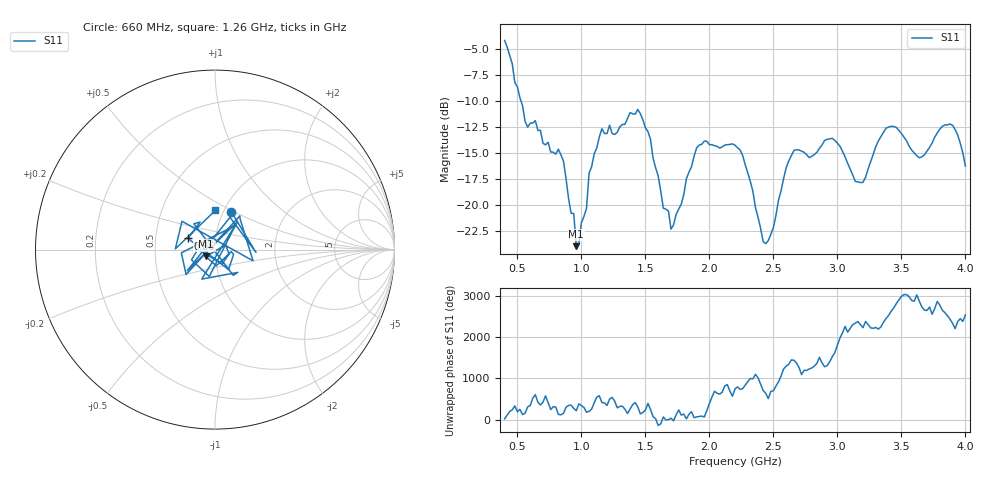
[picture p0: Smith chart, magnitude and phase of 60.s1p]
!Created with skrf (http://scikit-rf.org).
# Hz S RI R 50.0
!freq ReS11 ImS11
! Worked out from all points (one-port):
!   181 points, 400 MHz to 4 GHz, reference 50 ohm
!   lowest |S11| = -23.9 dB at 960 MHz (marker M1), VSWR 1.14, Z = 45.1 - j3.47 ohm
!   |S11| at or under -10 dB: 528.5 MHz to end of sweep
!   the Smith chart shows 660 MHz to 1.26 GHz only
!   S11 on the Smith chart (normalised r, x): 660 MHz: 1.09, +0.48; 860 MHz: 0.73, +0.09; 1.26 GHz: 0.91, +0.42
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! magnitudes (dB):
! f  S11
! 400 MHz  -4.2
! 560 MHz  -11.9
! 660 MHz  -12.8
! 860 MHz  -15.8
! 940 MHz  -20.8
! 960 MHz  -23.9
! 1.04 GHz  -20.3
! 1.06 GHz  -16.9
! 1.16 GHz  -12.7
! 1.26 GHz  -13.2
! 1.3 GHz  -12.5
! 1.44 GHz  -10.8
! 1.54 GHz  -13.7
! 1.7 GHz  -22.3
! 1.76 GHz  -20.4
! 1.9 GHz  -14.5
! 2.2 GHz  -14.2
! 2.26 GHz  -15.2
! 2.44 GHz  -23.7
! 2.66 GHz  -14.7
! 2.96 GHz  -13.6
! 3.1 GHz  -16.5
! 3.2 GHz  -17.8
! 3.4 GHz  -12.5
! 3.56 GHz  -14.3
! 3.66 GHz  -15.4
! 3.88 GHz  -12.2
! 4 GHz  -16.2
